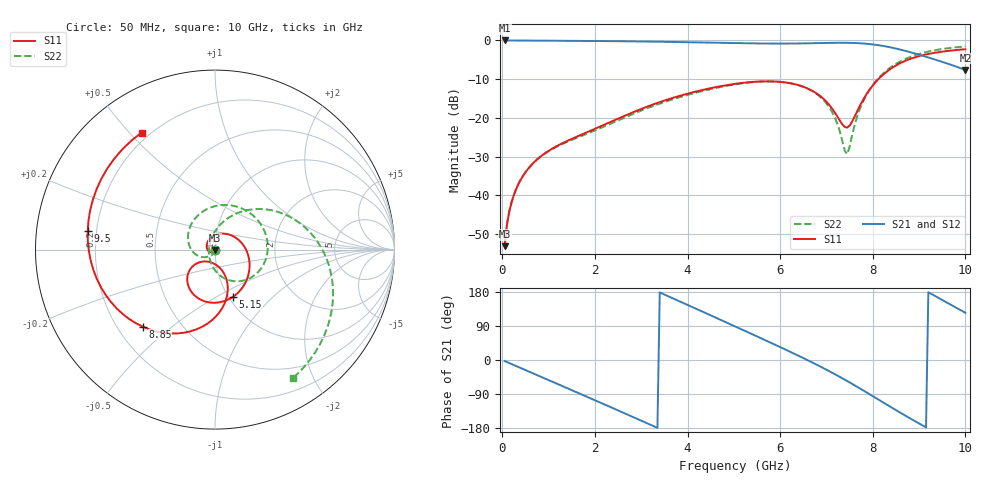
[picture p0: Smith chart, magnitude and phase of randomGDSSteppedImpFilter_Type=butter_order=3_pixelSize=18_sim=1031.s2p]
! freq	dB(S11)	phase(S11)	dB(S12)	phase(S12)
!  dB(S21)	phase(S21)	dB(S22)	phase(S22)
!S-par simulation data
#  GHz  S  DB  R 50
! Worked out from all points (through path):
!   200 points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, 50 MHz to 10 GHz, reference 50 ohm
!   highest |S21| = -0.01 dB at 50 MHz (marker M1); lowest = -7.6 dB at 10 GHz (marker M2)
!   group delay of S21, straight-line fit = 163 ps
!   lowest |S11| = -53.2 dB at 50 MHz (marker M3), VSWR 1.00, Z = 50 - j0.219 ohm
!   |S11| at or under -10 dB: start of sweep to 8.122 GHz
!   |S22| runs from -53.2 to -1.5 dB; largest |S21 - S12| = 0
!   S11 on the Smith chart (normalised r, x): 50 MHz: 1.00, -0.00; 5.15 GHz: 1.05, -0.60; 8.85 GHz: 0.30, -0.40; 9.5 GHz: 0.17, +0.07; 10 GHz: 0.17, +0.54
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0.05  -53.16 -84.1  -0.01 -2.7  -0.01 -2.7  -53.17 -80.9
0.1  -47.68 -91.8  -0.01 -5.4  -0.01 -5.4  -47.61 -87.4
0.2  -41.86 -102.5  -0.02 -10.7  -0.02 -10.7  -41.76 -93.9
0.5  -34.09 -127.9  -0.04 -26.5  -0.04 -26.5  -34.03 -105.9
1.15  -27.48 179.1  -0.08 -61.0  -0.08 -61.0  -27.61 -124.8
1.75  -24.15 127.4  -0.12 -92.8  -0.12 -92.8  -24.50 -137.1
2.2  -21.81 89.4  -0.16 -116.9  -0.16 -116.9  -22.25 -146.6
2.65  -19.44 55.4  -0.21 -141.1  -0.21 -141.1  -19.89 -160.3
3.4  -15.94 9.2  -0.33 178.2  -0.33 178.2  -16.33 165.3
3.85  -14.26 -13.5  -0.42 153.6  -0.42 153.6  -14.60 139.0
4.3  -12.87 -33.7  -0.52 128.9  -0.52 128.9  -13.14 110.1
5.05  -11.18 -64.8  -0.70 87.4  -0.70 87.4  -11.32 59.2
5.15  -11.02 -68.9  -0.72 81.8  -0.72 81.8  -11.14 52.3
6  -10.71 -104.5  -0.82 34.1  -0.82 34.1  -10.71 -5.1
6.7  -13.05 -134.0  -0.72 -6.9  -0.72 -6.9  -13.13 -53.2
7.1  -17.27 -143.4  -0.62 -32.1  -0.62 -32.1  -18.04 -86.5
7.45  -22.50 -104.0  -0.61 -55.7  -0.61 -55.7  -29.39 166.8
7.8  -15.17 -68.8  -0.79 -80.7  -0.79 -80.7  -15.54 72.2
8.35  -7.63 -96.0  -1.71 -121.3  -1.71 -121.3  -7.28 27.2
8.85  -4.60 -133.2  -3.17 -157.2  -3.17 -157.2  -4.08 -5.0
9.5  -2.90 171.8  -5.53 158.6  -5.53 158.6  -2.22 -38.3
10  -2.27 122.1  -7.64 124.6  -7.64 124.6  -1.54 -58.7
